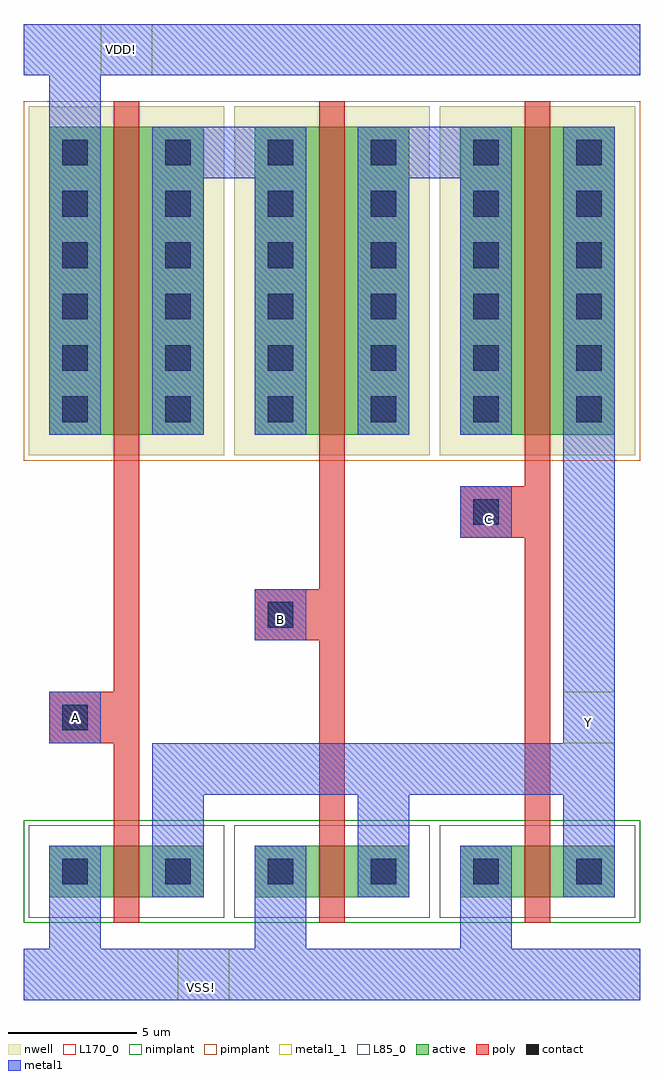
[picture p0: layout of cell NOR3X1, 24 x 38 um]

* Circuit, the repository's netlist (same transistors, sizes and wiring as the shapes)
* +++++++++++++++++++++++++++++++++++++++++++++++++++++++++ *
* CDL Netlist:                                              *
*                                                           *
* Cell Name  : NOR3X1                                       *
* Netlisted  : Tue Dec 21 14:09:50 2021                     *
* PVS Version: 16.15-s010 Fri Jun 28 22:24:07 PDT 2019      *
* +++++++++++++++++++++++++++++++++++++++++++++++++++++++++ *
*.LDD
*.DEVTMPLT 0 MN(nmos3) _nmos1v _soi_nd(D) poly_conn(G) _soi_nsb(S) _soi_nsb(B)
*.DEVTMPLT 1 MP(pmos3) _pmos1v _soi_pd(D) poly_conn(G) _soi_psb(S) _soi_psb(B)

* +++++++++++++++++++++++++++++++++++++++++++++++++++++++++ *
* Sub cell: nmos3_CDNS_2                                    *
* +++++++++++++++++++++++++++++++++++++++++++++++++++++++++ *
.subckt nmos3_CDNS_2 2 3 4
** N=4 EP=3 FDC=1
M0 3 4 2 2 nmos3 L=1e-06 W=2e-06 AD=5e-12 AS=0 PD=9e-06 PS=0 fw=2e-06 sa=2e-06 sb=2e-06 $X=7000 $Y=2000 $dt=0
.ends nmos3_CDNS_2

* +++++++++++++++++++++++++++++++++++++++++++++++++++++++++ *
* Sub cell: pmos3_CDNS_3                                    *
* +++++++++++++++++++++++++++++++++++++++++++++++++++++++++ *
.subckt pmos3_CDNS_3 2 3 4
** N=5 EP=3 FDC=1
M0 3 4 2 2 pmos3 L=1e-06 W=1.2e-05 AD=3e-11 AS=0 PD=2.9e-05 PS=0 fw=1.2e-05 sa=2e-06 sb=2e-06 $X=7000 $Y=2000 $dt=1
.ends pmos3_CDNS_3

* +++++++++++++++++++++++++++++++++++++++++++++++++++++++++ *
* Sub cell: NOR3X1                                          *
* +++++++++++++++++++++++++++++++++++++++++++++++++++++++++ *
.subckt NOR3X1 A B C VDD! VSS! Y
** N=9 EP=6 FDC=6
X3 VSS! Y A nmos3_CDNS_2 $T=16000 4000 1 180 $X=0 $Y=4000
X4 VSS! Y B nmos3_CDNS_2 $T=32000 4000 1 180 $X=16000 $Y=4000
X5 VSS! Y C nmos3_CDNS_2 $T=48000 4000 1 180 $X=32000 $Y=4000
X6 VDD! 8 A pmos3_CDNS_3 $T=16000 68000 0 180 $X=0 $Y=38000
X7 8 9 B pmos3_CDNS_3 $T=32000 68000 0 180 $X=16000 $Y=38000
X8 9 Y C pmos3_CDNS_3 $T=48000 68000 0 180 $X=32000 $Y=38000
.ends NOR3X1

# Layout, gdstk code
from math import pi, radians
import gdstk
lib = gdstk.Library(unit=1e-6, precision=5e-10)
def R(c, l, rs):  # rectangles x0, y0, x1, y1
    for r in rs: c.add(gdstk.rectangle(r[:2], r[2:], *l))
def A(c, l, x, y, w, h, nx, ny, dx, dy):  # array of equal rectangles
    R(c, l, [(x+i*dx, y+j*dy, x+i*dx+w, y+j*dy+h) for i in range(nx) for j in range(ny)])
active = (1, 0)
nwell = (2, 0)
poly = (3, 0)
nimplant = (4, 0)
pimplant = (5, 0)
contact = (6, 0)
metal1 = (7, 0)
metal1_1 = (7, 1)
L85_0 = (85, 0)
L170_0 = (170, 0)

nmos3_cdns_2 = lib.new_cell('nmos3_CDNS_2')
R(nmos3_cdns_2, active, [(1,1,7,3)])
R(nmos3_cdns_2, poly, [(3.5,0,4.5,5), (3.6,3.5,4.4,3.9)])
R(nmos3_cdns_2, nimplant, [(0,0,8,4)])
R(nmos3_cdns_2, contact, [(1.5,1.5,2.5,2.5), (5.5,1.5,6.5,2.5), (5.5,1.5,6.5,2.5)])
R(nmos3_cdns_2, metal1, [(1,1,3,3), (5,1,7,3), (1.3,1.3,2.7,2.7), (5.3,1.3,6.7,2.7)])
R(nmos3_cdns_2, L85_0, [(0.2,0.2,7.8,3.8)])
R(nmos3_cdns_2, L170_0, [(4.5,1,7,3)])

pmos3_cdns_3 = lib.new_cell('pmos3_CDNS_3')
R(pmos3_cdns_3, active, [(1,1,7,13)])
R(pmos3_cdns_3, nwell, [(0.2,0.2,7.8,13.8)])
R(pmos3_cdns_3, poly, [(3.5,0,4.5,15), (3.6,13.6,4.4,13.9)])
R(pmos3_cdns_3, pimplant, [(0,0,8,14)])
A(pmos3_cdns_3, contact, 1.5, 1.5, 1, 1, 1, 6, 0, 2)
A(pmos3_cdns_3, contact, 5.5, 1.5, 1, 1, 1, 6, 0, 2)
R(pmos3_cdns_3, contact, [(5.5,1.5,6.5,2.5)])
R(pmos3_cdns_3, metal1, [(1,1,3,13), (5,1,7,13), (1.3,1.3,2.7,2.7), (5.3,1.3,6.7,2.7)])
R(pmos3_cdns_3, L170_0, [(4.5,1,7,13)])

m1_po_cdns_1 = lib.new_cell('M1_PO_CDNS_1')
R(m1_po_cdns_1, poly, [(-1,-1,1,1)])
R(m1_po_cdns_1, contact, [(-0.5,-0.5,0.5,0.5)])
R(m1_po_cdns_1, metal1, [(-1,-1,1,1)])

nor3x1 = lib.new_cell('NOR3X1')
R(nor3x1, poly, [(2.5,9,3.9,11), (10.3,13,11.9,15), (18.3,17,20,19)])
R(nor3x1, metal1, [(1,9,3,11), (9,13,11,15), (17,17,19,19)])
R(nor3x1, metal1_1, [(6,-1,8,1), (1,9,3,11), (21,9,23,11), (9,13,11,15), (17,17,19,19), (3,35,5,37)])
nor3x1.add(gdstk.FlexPath([(20,5.5),(20,24.4)], 1, ends="flush", simple_path=True, layer=3, datatype=0))  # poly
nor3x1.add(gdstk.FlexPath([(12,5.5),(12,25)], 1, ends="flush", simple_path=True, layer=3, datatype=0))  # poly
nor3x1.add(gdstk.FlexPath([(4,5.5),(4,24.8)], 1, ends="flush", simple_path=True, layer=3, datatype=0))  # poly
nor3x1.add(gdstk.FlexPath([(6,8),(14,8)], 2, ends="extended", simple_path=True, layer=7, datatype=0))  # metal1
nor3x1.add(gdstk.FlexPath([(14,3.3),(14,8)], 2, ends=(0, 1), simple_path=True, layer=7, datatype=0))  # metal1
nor3x1.add(gdstk.FlexPath([(22,3.3),(22,8)], 2, ends=(0, 1), simple_path=True, layer=7, datatype=0))  # metal1
nor3x1.add(gdstk.FlexPath([(14,8),(22,8)], 2, ends="extended", simple_path=True, layer=7, datatype=0))  # metal1
nor3x1.add(gdstk.FlexPath([(6,3.3),(6,8)], 2, ends=(0, 1), simple_path=True, layer=7, datatype=0))  # metal1
nor3x1.add(gdstk.FlexPath([(22,8),(22,32.7)], 2, ends=(1, 0), simple_path=True, layer=7, datatype=0))  # metal1
nor3x1.add(gdstk.FlexPath([(10,0),(18,0)], 2, ends="extended", simple_path=True, layer=7, datatype=0))  # metal1
nor3x1.add(gdstk.FlexPath([(18,4.7),(18,0)], 2, ends=(0, 1), simple_path=True, layer=7, datatype=0))  # metal1
nor3x1.add(gdstk.FlexPath([(2,0),(10,0)], 2, ends="extended", simple_path=True, layer=7, datatype=0))  # metal1
nor3x1.add(gdstk.FlexPath([(10,4.7),(10,0)], 2, ends=(0, 1), simple_path=True, layer=7, datatype=0))  # metal1
nor3x1.add(gdstk.FlexPath([(0,0),(2,0)], 2, ends=(0, 1), simple_path=True, layer=7, datatype=0))  # metal1
nor3x1.add(gdstk.FlexPath([(2,4.7),(2,0)], 2, ends=(0, 1), simple_path=True, layer=7, datatype=0))  # metal1
nor3x1.add(gdstk.FlexPath([(13.3,32),(18.7,32)], 2, ends="flush", simple_path=True, layer=7, datatype=0))  # metal1
nor3x1.add(gdstk.FlexPath([(5.3,32),(10.7,32)], 2, ends="flush", simple_path=True, layer=7, datatype=0))  # metal1
nor3x1.add(gdstk.FlexPath([(0,36),(2,36)], 2, ends=(0, 1), simple_path=True, layer=7, datatype=0))  # metal1
nor3x1.add(gdstk.FlexPath([(2,31.3),(2,36)], 2, ends=(0, 1), simple_path=True, layer=7, datatype=0))  # metal1
nor3x1.add(gdstk.FlexPath([(18,0),(24,0)], 2, ends=(1, 0), simple_path=True, layer=7, datatype=0))  # metal1
nor3x1.add(gdstk.FlexPath([(2,36),(24,36)], 2, ends=(1, 0), simple_path=True, layer=7, datatype=0))  # metal1
nor3x1.add(gdstk.Reference(nmos3_cdns_2, (24,2), rotation=pi, x_reflection=True))
nor3x1.add(gdstk.Reference(nmos3_cdns_2, (16,2), rotation=pi, x_reflection=True))
nor3x1.add(gdstk.Reference(nmos3_cdns_2, (8,2), rotation=pi, x_reflection=True))
nor3x1.add(gdstk.Reference(pmos3_cdns_3, (24,34), rotation=pi))
nor3x1.add(gdstk.Reference(pmos3_cdns_3, (16,34), rotation=pi))
nor3x1.add(gdstk.Reference(pmos3_cdns_3, (8,34), rotation=pi))
nor3x1.add(gdstk.Reference(m1_po_cdns_1, (18,18)))
nor3x1.add(gdstk.Reference(m1_po_cdns_1, (10,14)))
nor3x1.add(gdstk.Reference(m1_po_cdns_1, (2,10)))
nor3x1.add(gdstk.Label('VDD!', (3.8,36), layer=7, texttype=3))
nor3x1.add(gdstk.Label('VSS!', (6.9,-0.5), layer=7, texttype=3))
nor3x1.add(gdstk.Label('Y', (22,9.8), layer=7, texttype=3))
nor3x1.add(gdstk.Label('C', (18.1,17.7), layer=7, texttype=3))
nor3x1.add(gdstk.Label('B', (10,13.8), layer=7, texttype=3))
nor3x1.add(gdstk.Label('A', (2,10), layer=7, texttype=3))

lib.write_gds('NOR3X1.gds')
